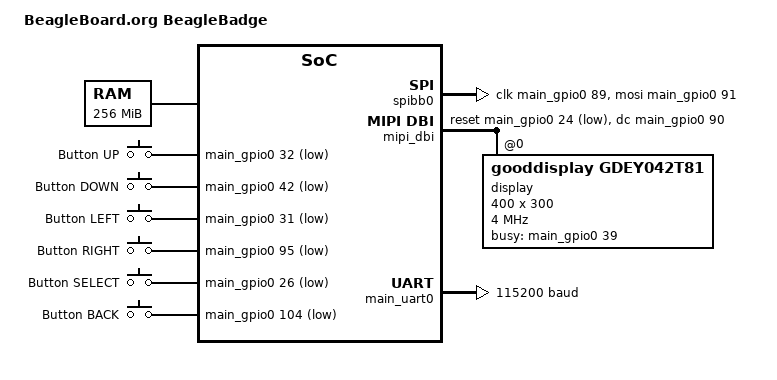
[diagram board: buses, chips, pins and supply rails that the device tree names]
/*
 * Copyright (C) 2025 Texas Instruments Incorporated - https://www.ti.com/
 *
 * SPDX-License-Identifier: Apache-2.0
 */

/dts-v1/;

#include <ti/am62l3_a53.dtsi>
#include <zephyr/dt-bindings/input/input-event-codes.h>

#include "beaglebadge_am62l3_a53-pinctrl.dtsi"

/ {
	model = "BeagleBoard.org BeagleBadge";
	compatible = "beagle,beaglebadge";

	chosen {
		zephyr,console = &main_uart0;
		zephyr,shell-uart = &main_uart0;
		zephyr,sram = &zephyr_ddr;
		zephyr,display = &display;
	};

	cpus {
		cpu@0 {
			status = "okay";
		};

		cpu@1 {
			status = "okay";
		};
	};

	ddr0: memory@80000000 {
		device_type = "memory";
		reg = <0x80000000 DT_SIZE_M(256)>;
		#address-cells = <1>;
		#size-cells = <1>;

		/* The first 32MiB is reserved for firmware (TFA, OP-TEE) */
		zephyr_ddr: memory@80200000 {
			reg = <0x80200000 (DT_SIZE_M(256) - DT_SIZE_M(32))>;
		};
	};

	buttons {
		compatible = "gpio-keys";

		btn_up: joystick-up {
			label = "Button UP";
			gpios = <&main_gpio0 32 GPIO_ACTIVE_LOW>;
			zephyr,code = <INPUT_KEY_UP>;
		};

		btn_down: joystick-down {
			label = "Button DOWN";
			gpios = <&main_gpio0 42 GPIO_ACTIVE_LOW>;
			zephyr,code = <INPUT_KEY_DOWN>;
		};

		btn_left: joystick-left {
			label = "Button LEFT";
			gpios = <&main_gpio0 31 GPIO_ACTIVE_LOW>;
			zephyr,code = <INPUT_KEY_LEFT>;
		};

		btn_right: joystick-right {
			label = "Button RIGHT";
			gpios = <&main_gpio0 95 GPIO_ACTIVE_LOW>;
			zephyr,code = <INPUT_KEY_RIGHT>;
		};

		btn_select: button-select {
			label = "Button SELECT";
			gpios = <&main_gpio0 26 GPIO_ACTIVE_LOW>;
			zephyr,code = <INPUT_KEY_ENTER>;
		};

		btn_back: button-back {
			label = "Button BACK";
			gpios = <&main_gpio0 104 GPIO_ACTIVE_LOW>;
			zephyr,code = <INPUT_KEY_BACK>;
		};
	};

	/* Bitbang SPI until real SPI is fixed */
	spibb0: spibb0 {
		compatible = "zephyr,spi-bitbang";

		#address-cells = <1>;
		#size-cells = <0>;

		clk-gpios = <&main_gpio0 89 GPIO_ACTIVE_HIGH>;
		cs-gpios = <&main_gpio0 87 GPIO_ACTIVE_LOW>;
		mosi-gpios = <&main_gpio0 91 GPIO_ACTIVE_HIGH>;
	};

	mipi_dbi {
		compatible = "zephyr,mipi-dbi-spi";

		spi-dev = <&spibb0>;
		dc-gpios = <&main_gpio0 90 GPIO_ACTIVE_HIGH>;
		reset-gpios = <&main_gpio0 24 GPIO_ACTIVE_LOW>;

		#address-cells = <1>;
		#size-cells = <0>;

		display: ssd1683fb@0 {
			compatible = "gooddisplay,gdey042t81", "solomon,ssd1681";
			mipi-max-frequency = <4000000>;
			reg = <0>;
			width = <400>;
			height = <300>;
			busy-gpios = <&main_gpio0 39 GPIO_ACTIVE_HIGH>;

			tssv = <0x80>; // Internal temp sensor

			full {
				border-waveform = <0x05>;
			};

			partial {
				border-waveform = <0x3c>;
			};
		};
	};
};

&main_uart0 {
	current-speed = <115200>;
	pinctrl-0 = <&uart0_rx_default>,
		    <&uart0_tx_default>;
	pinctrl-names = "default";
	status = "okay";
};

&main_gpio0_0 {
	pinctrl-0 = <&dc_pins_default>,
		    <&res_pins_default>,
		    <&busy_pins_default>,
		    <&clk_pins_default>,
		    <&cs0_pins_default>,
		    <&mosi_pins_default>,
		    <&btn_select_pins_default>,
		    <&btn_left_pins_default>,
		    <&buzzer_pins_default>;
	pinctrl-names = "default";
	status = "okay";
};

&main_gpio0_1 {
	pinctrl-0 = <&btn_down_pins_default>,
		    <&btn_up_pins_default>;
	pinctrl-names = "default";
	status = "okay";
};

&main_gpio0_2 {
	pinctrl-0 = <&btn_right_pins_default>;
	pinctrl-names = "default";
	status = "okay";
};

&main_gpio0_3 {
	pinctrl-0 = <&btn_back_pins_default>;
	pinctrl-names = "default";
	status = "okay";
};
